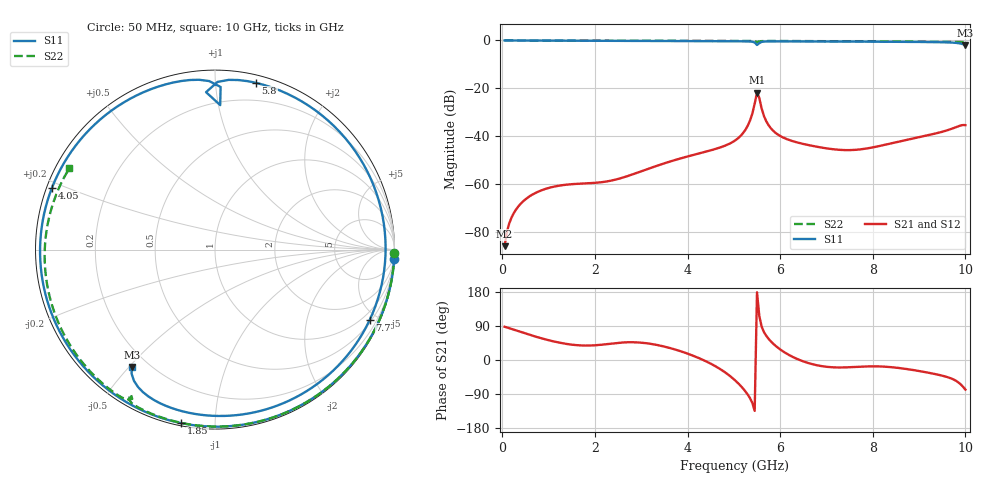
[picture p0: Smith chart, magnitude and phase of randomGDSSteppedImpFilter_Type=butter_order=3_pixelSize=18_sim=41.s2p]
! freq	dB(S11)	phase(S11)	dB(S12)	phase(S12)
!  dB(S21)	phase(S21)	dB(S22)	phase(S22)
!S-par simulation data
#  GHz  S  DB  R 50
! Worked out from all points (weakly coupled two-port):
!   200 points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, 50 MHz to 10 GHz, reference 50 ohm
!   highest |S21| = -21.79 dB at 5.5 GHz (marker M1); lowest = -85.9 dB at 50 MHz (marker M2)
!   lowest |S11| = -1.9 dB at 10 GHz (marker M3), VSWR 9.10, Z = 6.94 - j25.5 ohm
!   |S11| at or under -10 dB: nowhere
!   |S22| runs from -0.6 to 0.0 dB; largest |S21 - S12| = 0
!   S11 on the Smith chart (normalised r, x): 50 MHz: 0, -39; 1.85 GHz: 0.01, -0.82; 4.05 GHz: 0.02, +0.18; 5.8 GHz: 0.06, +1.27; 7.7 GHz: 0.60, -4.54; 10 GHz: 0.14, -0.51
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0.05  -0.00 -3.0  -85.91 87.8  -85.91 87.8  -0.00 -1.2
0.1  -0.01 -5.9  -79.90 85.8  -79.90 85.8  -0.00 -2.4
0.3  -0.03 -17.5  -70.50 77.8  -70.50 77.8  -0.01 -7.2
0.6  -0.05 -34.8  -64.95 66.0  -64.95 66.0  -0.02 -14.3
1.2  -0.09 -67.9  -60.73 46.6  -60.73 46.6  -0.04 -28.5
1.75  -0.12 -96.2  -59.74 38.2  -59.74 38.2  -0.05 -41.2
1.85  -0.13 -101.1  -59.65 38.1  -59.65 38.1  -0.06 -43.5
2.65  -0.17 -138.6  -56.99 46.5  -56.99 46.5  -0.08 -61.4
3.4  -0.21 -171.9  -51.94 38.2  -51.94 38.2  -0.10 -77.5
4.05  -0.25 159.2  -48.19 14.6  -48.19 14.6  -0.13 -91.0
5.05  -0.33 111.9  -41.45 -56.3  -41.45 -56.3  -0.17 -111.1
5.35  -0.44 95.4  -33.43 -101.0  -33.43 -101.0  -0.21 -117.3
5.5  -1.88 87.9  -21.79 178.8  -21.79 178.8  -0.61 -120.2
5.55  -1.12 93.3  -24.01 116.2  -24.01 116.2  -0.44 -119.0
5.65  -0.46 85.4  -31.53 73.8  -31.53 73.8  -0.24 -121.6
5.8  -0.38 76.2  -36.70 49.0  -36.70 49.0  -0.22 -124.8
6.7  -0.41 27.2  -44.05 -11.2  -44.05 -11.2  -0.27 -142.2
7.2  -0.44 0.7  -45.55 -19.6  -45.55 -19.6  -0.31 -151.8
7.7  -0.47 -24.4  -45.55 -17.7  -45.55 -17.7  -0.36 -161.4
8.35  -0.54 -54.8  -43.19 -18.4  -43.19 -18.4  -0.43 -174.1
9.25  -0.68 -92.9  -39.33 -34.7  -39.33 -34.7  -0.53 167.4
10  -1.92 -125.3  -35.37 -78.1  -35.37 -78.1  -0.64 150.8
